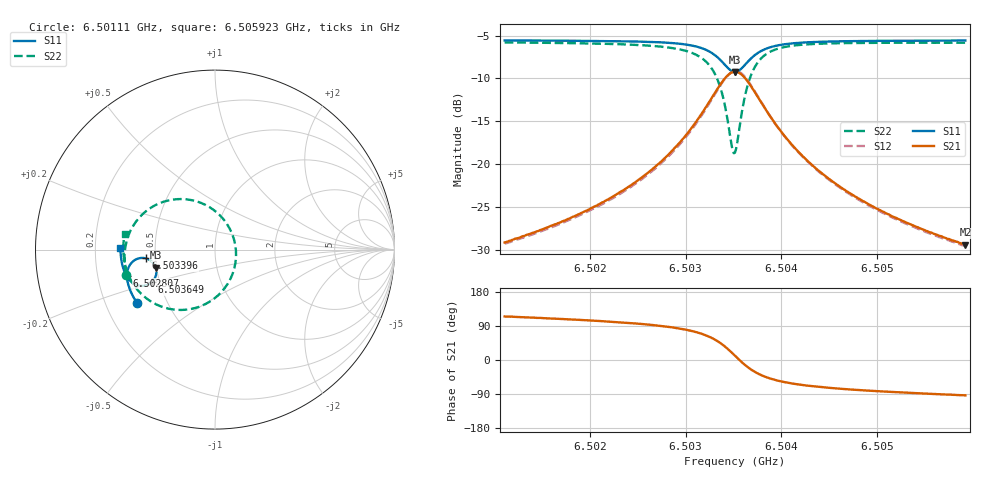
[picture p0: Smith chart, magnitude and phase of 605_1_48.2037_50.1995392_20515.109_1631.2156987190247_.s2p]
#  HZ  S  RI  R  50.00
! Rohde & Schwarz Vector Network Analyzer
! Rohde-Schwarz,ZNB20-2Port,1311601062101988,3.16
! Created: UTC 3/20/2024, 12:03:09 PM
! freq[Hz]  re:S11  im:S11  re:S21  im:S21  re:S12  im:S12  re:S22  im:S22
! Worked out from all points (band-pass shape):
!   401 points, 6.50111 GHz to 6.505923 GHz, reference 50 ohm
!   highest |S21| = -9.22 dB at 6.503517 GHz (marker M1); lowest = -29.4 dB at 6.505923 GHz (marker M2)
!   |S21| within 3 dB of the highest: 6.503277 GHz to 6.503758 GHz (481.4 kHz wide, 0.0074 % of centre)
!   lowest |S11| = -9.2 dB at 6.503517 GHz (marker M3), VSWR 2.05, Z = 24.8 - j5.69 ohm
!   |S11| at or under -10 dB: nowhere
!   |S22| runs from -18.7 to -5.8 dB; largest |S21 - S12| = 0.012
!   S11 on the Smith chart (normalised r, x): 6.50111 GHz: 0.34, -0.28; 6.502807 GHz: 0.33, -0.13; 6.503396 GHz: 0.44, -0.05; 6.503649 GHz: 0.45, -0.19; 6.505923 GHz: 0.31, +0.01
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6.5011102e9  -0.4336 -0.2999  -0.0147 0.0317  -0.0131 0.0318  -0.4936 -0.1413
6.5019164e9  -0.4672 -0.2388  -0.0139 0.0502  -0.0115 0.0497  -0.5043 -0.0531
6.5023617e9  -0.4823 -0.1983  -0.0106 0.0702  -0.00768 0.0693  -0.4998 0.0126
6.5027226e9  -0.49 -0.1569  -0.00105 0.1009  0.00262 0.0986  -0.4783 0.0887
6.5028069e9  -0.4905 -0.1451  0.00388 0.1116  0.00773 0.1087  -0.4676 0.1117
6.5030114e9  -0.4859 -0.1111  0.027 0.1468  0.0306 0.1425  -0.4197 0.1809
6.5031558e9  -0.4713 -0.0811  0.0651 0.1807  0.0679 0.1751  -0.3457 0.2402
6.5033002e9  -0.4325 -0.0513  0.1483 0.2101  0.149 0.2041  -0.194 0.2815
6.5033965e9  -0.385 -0.0487  0.2416 0.1931  0.2418 0.1889  -0.0325 0.2377
6.5034807e9  -0.3411 -0.0786  0.3215 0.117  0.3243 0.1133  0.0952 0.0879
6.5035168e9  -0.3298 -0.1013  0.3395 0.0671  0.3437 0.0623  0.1167 -0.00562
6.5035409e9  -0.3267 -0.1179  0.3433 0.0319  0.3476 0.0254  0.1143 -0.0707
6.503577e9  -0.3289 -0.1426  0.3357 -0.0195  0.3398 -0.0282  0.0865 -0.162
6.5036492e9  -0.3515 -0.181  0.2879 -0.0976  0.2884 -0.1092  -0.0262 -0.2881
6.5036973e9  -0.3726 -0.1948  0.2468 -0.1271  0.2445 -0.1386  -0.112 -0.3258
6.5037575e9  -0.3983 -0.2017  0.1988 -0.1439  0.1937 -0.154  -0.2066 -0.336
6.5039139e9  -0.4465 -0.1925  0.1129 -0.1397  0.106 -0.1452  -0.3613 -0.2864
6.5040823e9  -0.4749 -0.1709  0.0665 -0.1183  0.0601 -0.1206  -0.4362 -0.2184
6.504323e9  -0.4961 -0.1412  0.0353 -0.0923  0.0303 -0.093  -0.481 -0.144
6.5046599e9  -0.5111 -0.1049  0.0164 -0.0691  0.0129 -0.0687  -0.5035 -0.0722
6.5051292e9  -0.5213 -0.0604  0.00533 -0.0504  0.00298 -0.0497  -0.5108 -0.00222
6.5059234e9  -0.5266 0.00758  -0.00195 -0.0338  -0.00341 -0.0331  -0.504 0.0846
